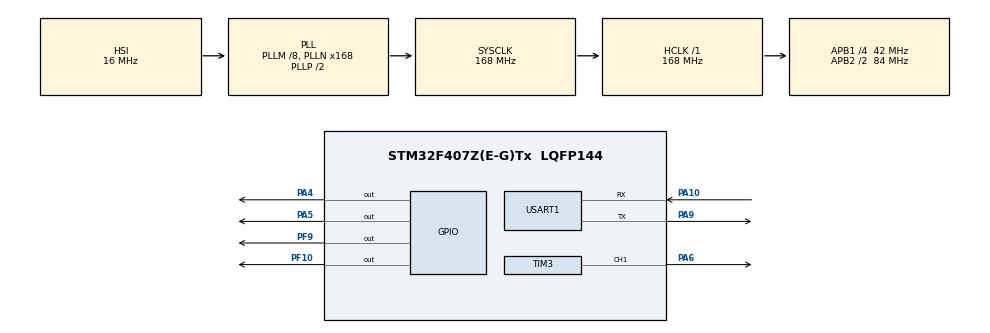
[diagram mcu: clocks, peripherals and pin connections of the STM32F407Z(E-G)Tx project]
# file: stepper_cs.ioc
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Dma.Request0=USART1_RX
Dma.Request1=USART1_TX
Dma.USART1_RX.0.Direction=DMA_PERIPH_TO_MEMORY
Dma.USART1_RX.0.FIFOMode=DMA_FIFOMODE_DISABLE
Dma.USART1_RX.0.Instance=DMA2_Stream2
Dma.USART1_RX.0.MemDataAlignment=DMA_MDATAALIGN_BYTE
Dma.USART1_RX.0.MemInc=DMA_MINC_ENABLE
Dma.USART1_RX.0.Mode=DMA_NORMAL
Dma.USART1_RX.0.PeriphDataAlignment=DMA_PDATAALIGN_BYTE
Dma.USART1_RX.0.PeriphInc=DMA_PINC_DISABLE
Dma.USART1_RX.0.Priority=DMA_PRIORITY_LOW
Dma.USART1_TX.1.Direction=DMA_MEMORY_TO_PERIPH
Dma.USART1_TX.1.FIFOMode=DMA_FIFOMODE_DISABLE
Dma.USART1_TX.1.Instance=DMA2_Stream7
Dma.USART1_TX.1.MemDataAlignment=DMA_MDATAALIGN_BYTE
Dma.USART1_TX.1.MemInc=DMA_MINC_ENABLE
Dma.USART1_TX.1.Mode=DMA_NORMAL
Dma.USART1_TX.1.PeriphDataAlignment=DMA_PDATAALIGN_BYTE
Dma.USART1_TX.1.PeriphInc=DMA_PINC_DISABLE
Dma.USART1_TX.1.Priority=DMA_PRIORITY_LOW
FREERTOS.Tasks01=defaultTask,24,128,StartDefaultTask,Default,NULL,Dynamic,NULL,NULL;myTask02,8,128,StartTask02,Default,NULL,Dynamic,NULL,NULL
Mcu.Family=STM32F4
Mcu.Name=STM32F407Z(E-G)Tx
Mcu.Package=LQFP144
NVIC.DMA2_Stream2_IRQn=true\:5\:0\:false\:false\:true\:true\:false\:true\:true
NVIC.DMA2_Stream7_IRQn=true\:5\:0\:false\:false\:true\:true\:false\:true\:true
NVIC.PriorityGroup=NVIC_PRIORITYGROUP_4
NVIC.TIM3_IRQn=true\:5\:0\:false\:false\:true\:true\:true\:true\:true
NVIC.USART1_IRQn=true\:5\:0\:false\:false\:true\:true\:false\:true\:true
PA10.Mode=Asynchronous
PA10.Signal=USART1_RX
PA13.Mode=Serial_Wire
PA13.Signal=SYS_JTMS-SWDIO
PA14.Mode=Serial_Wire
PA14.Signal=SYS_JTCK-SWCLK
PA4.GPIO_PuPd=GPIO_PULLDOWN
PA4.Signal=GPIO_Output
PA5.GPIO_PuPd=GPIO_PULLDOWN
PA5.Signal=GPIO_Output
PA6.Signal=S_TIM3_CH1
PA9.Mode=Asynchronous
PA9.Signal=USART1_TX
PF10.Signal=GPIO_Output
PF9.Signal=GPIO_Output
PH0-OSC_IN.Mode=HSE-External-Oscillator
PH0-OSC_IN.Signal=RCC_OSC_IN
PH1-OSC_OUT.Mode=HSE-External-Oscillator
PH1-OSC_OUT.Signal=RCC_OSC_OUT
ProjectManager.HeapSize=0x200
ProjectManager.StackSize=0x400
ProjectManager.TargetToolchain=MDK-ARM V5.32
RCC.48MHZClocksFreq_Value=84000000
RCC.AHBFreq_Value=168000000
RCC.APB1CLKDivider=RCC_HCLK_DIV4
RCC.APB1Freq_Value=42000000
RCC.APB1TimFreq_Value=84000000
RCC.APB2CLKDivider=RCC_HCLK_DIV2
RCC.APB2Freq_Value=84000000
RCC.APB2TimFreq_Value=168000000
RCC.CortexFreq_Value=168000000
RCC.HCLKFreq_Value=168000000
RCC.HSE_VALUE=25000000
RCC.HSI_VALUE=16000000
RCC.LSE_VALUE=32768
RCC.PLLM=8
RCC.PLLN=168
RCC.SYSCLKFreq_VALUE=168000000
RCC.SYSCLKSource=RCC_SYSCLKSOURCE_PLLCLK
RCC.VCOOutputFreq_Value=336000000
SH.S_TIM3_CH1.0=TIM3_CH1,PWM Generation1 CH1
TIM3.Channel-PWM\ Generation1\ CH1=TIM_CHANNEL_1
USART1.VirtualMode=VM_ASYNC
VP_FREERTOS_VS_CMSIS_V2.Mode=CMSIS_V2
board=custom

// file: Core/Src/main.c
/* USER CODE BEGIN Header */
/**
 ******************************************************************************
 * @file           : main.c
 * @brief          : Main program body
 ******************************************************************************
 * @attention
 *
 * Copyright (c) 2024 STMicroelectronics.
 * All rights reserved.
 *
 * This software is licensed under terms that can be found in the LICENSE file
 * in the root directory of this software component.
 * If no LICENSE file comes with this software, it is provided AS-IS.
 *
 ******************************************************************************
 */
/* USER CODE END Header */
#include "main.h"
#include "cmsis_os.h"
#include "dma.h"
#include "tim.h"
#include "usart.h"
#include "gpio.h"

/* USER CODE BEGIN Includes */
#include "stepper_a4988.h"
/* USER CODE END Includes */

/* USER CODE BEGIN PD */
// 硬件串口重定向函�??
int fputc(int ch, FILE *f)
{
  HAL_UART_Transmit(&huart1, (uint8_t *)&ch, 1, HAL_MAX_DELAY);
  // HAL_UART_Transmit_DMA(&huart1, (uint8_t*)&ch, 1);
  return ch;
}
/*
 串口接收中断回调函数
 */
uint8_t Rx_data[200] = {0};
char received_string[256];
extern DMA_HandleTypeDef hdma_usart1_rx;

void HAL_UARTEx_RxEventCallback(UART_HandleTypeDef *huart, uint16_t Size)
{
  if (huart == &huart1)
  {

    strcpy(received_string, (char *)Rx_data);
    fprintf(stdout, "%s\r\n", received_string); // 将串�??1接收到的数据返回到串�??1
    memset(Rx_data, 0, sizeof(Rx_data));
    HAL_UARTEx_ReceiveToIdle_DMA(huart, Rx_data, sizeof(Rx_data) - 1);
    __HAL_DMA_DISABLE_IT(&hdma_usart1_rx, DMA_IT_HT);
  }
}
void HAL_TIM_PWM_PulseFinishedCallback(TIM_HandleTypeDef *htim)
{
  if (htim->Instance == TIM3)
  {
    stepper_Callback();
  }
}
/* USER CODE END PD */

void SystemClock_Config(void);
void MX_FREERTOS_Init(void);

int main(void)
{

  /* MCU Configuration--------------------------------------------------------*/

  /* Reset of all peripherals, Initializes the Flash interface and the Systick. */
  HAL_Init();

  /* Configure the system clock */
  SystemClock_Config();

  /* Initialize all configured peripherals */
  MX_GPIO_Init();
  MX_DMA_Init();
  MX_TIM3_Init();
  MX_USART1_UART_Init();
  /* USER CODE BEGIN 2 */

  HAL_UARTEx_ReceiveToIdle_DMA(&huart1, Rx_data, 200 - 1); // 启用空闲中断接收
  __HAL_DMA_DISABLE_IT(&hdma_usart1_rx, DMA_IT_HT);        // 关闭DMA传输过半中断
  /* USER CODE END 2 */

  /* Init scheduler */
  osKernelInitialize();

  /* Call init function for freertos objects (in cmsis_os2.c) */
  MX_FREERTOS_Init();

  /* Start scheduler */
  osKernelStart();

  /* We should never get here as control is now taken by the scheduler */

  /* Infinite loop */
  while (1)
  {

  }
}

void SystemClock_Config(void)
{
  RCC_OscInitTypeDef RCC_OscInitStruct = {0};
  RCC_ClkInitTypeDef RCC_ClkInitStruct = {0};

  /** Configure the main internal regulator output voltage
   */
  __HAL_RCC_PWR_CLK_ENABLE();
  __HAL_PWR_VOLTAGESCALING_CONFIG(PWR_REGULATOR_VOLTAGE_SCALE1);

  /** Initializes the RCC Oscillators according to the specified parameters
   * in the RCC_OscInitTypeDef structure.
   */
  RCC_OscInitStruct.OscillatorType = RCC_OSCILLATORTYPE_HSI;
  RCC_OscInitStruct.HSIState = RCC_HSI_ON;
  RCC_OscInitStruct.HSICalibrationValue = RCC_HSICALIBRATION_DEFAULT;
  RCC_OscInitStruct.PLL.PLLState = RCC_PLL_ON;
  RCC_OscInitStruct.PLL.PLLSource = RCC_PLLSOURCE_HSI;
  RCC_OscInitStruct.PLL.PLLM = 8;
  RCC_OscInitStruct.PLL.PLLN = 168;
  RCC_OscInitStruct.PLL.PLLP = RCC_PLLP_DIV2;
  RCC_OscInitStruct.PLL.PLLQ = 4;
  if (HAL_RCC_OscConfig(&RCC_OscInitStruct) != HAL_OK)
  {
    Error_Handler();
  }

  /** Initializes the CPU, AHB and APB buses clocks
   */
  RCC_ClkInitStruct.ClockType = RCC_CLOCKTYPE_HCLK | RCC_CLOCKTYPE_SYSCLK | RCC_CLOCKTYPE_PCLK1 | RCC_CLOCKTYPE_PCLK2;
  RCC_ClkInitStruct.SYSCLKSource = RCC_SYSCLKSOURCE_PLLCLK;
  RCC_ClkInitStruct.AHBCLKDivider = RCC_SYSCLK_DIV1;
  RCC_ClkInitStruct.APB1CLKDivider = RCC_HCLK_DIV4;
  RCC_ClkInitStruct.APB2CLKDivider = RCC_HCLK_DIV2;

  if (HAL_RCC_ClockConfig(&RCC_ClkInitStruct, FLASH_LATENCY_5) != HAL_OK)
  {
    Error_Handler();
  }
}

void Error_Handler(void)
{
  __disable_irq();
  while (1)
  {
  }
}

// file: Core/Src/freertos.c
/* USER CODE BEGIN Header */
/**
 ******************************************************************************
 * File Name          : freertos.c
 * Description        : Code for freertos applications
 ******************************************************************************
 * @attention
 *
 * Copyright (c) 2024 STMicroelectronics.
 * All rights reserved.
 *
 * This software is licensed under terms that can be found in the LICENSE file
 * in the root directory of this software component.
 * If no LICENSE file comes with this software, it is provided AS-IS.
 *
 ******************************************************************************
 */
/* USER CODE END Header */

#include "FreeRTOS.h"
#include "task.h"
#include "main.h"
#include "cmsis_os.h"

/* USER CODE BEGIN Includes */
#include "stepper_a4988.h"
#include "tim.h"
/* USER CODE END Includes */

/* Definitions for defaultTask */
osThreadId_t defaultTaskHandle;
const osThreadAttr_t defaultTask_attributes = {
  .name = "defaultTask",
  .stack_size = 128 * 4,
  .priority = (osPriority_t) osPriorityNormal,
};
/* Definitions for myTask02 */
osThreadId_t myTask02Handle;
const osThreadAttr_t myTask02_attributes = {
  .name = "myTask02",
  .stack_size = 128 * 4,
  .priority = (osPriority_t) osPriorityLow,
};

void StartDefaultTask(void *argument);
void StartTask02(void *argument);

void MX_FREERTOS_Init(void); /* (MISRA C 2004 rule 8.1) */

void MX_FREERTOS_Init(void) {

  /* Create the thread(s) */
  /* creation of defaultTask */
  defaultTaskHandle = osThreadNew(StartDefaultTask, NULL, &defaultTask_attributes);

  /* creation of myTask02 */
  myTask02Handle = osThreadNew(StartTask02, NULL, &myTask02_attributes);

}

void StartDefaultTask(void *argument)
{
  /* USER CODE BEGIN StartDefaultTask */
  /* Infinite loop */
  for (;;)
  {
    HAL_GPIO_TogglePin(GPIOF, GPIO_PIN_9);
    HAL_GPIO_TogglePin(GPIOF, GPIO_PIN_10);
    osDelay(100);
    osDelay(1);
  }
  /* USER CODE END StartDefaultTask */
}

void StartTask02(void *argument)
{
  /* USER CODE BEGIN StartTask02 */
  /* Infinite loop */
  for (;;)
  {
    // stepper_set_pwm_Frequency(20);
    // HAL_TIM_PWM_Start(&htim3, TIM_CHANNEL_1);
    stepperRotateAngle(30, 90);
    osDelay(2000);
    stepperRotateAngle(30, -90);
    osDelay(2000);
    osDelay(1);
  }
  /* USER CODE END StartTask02 */
}
